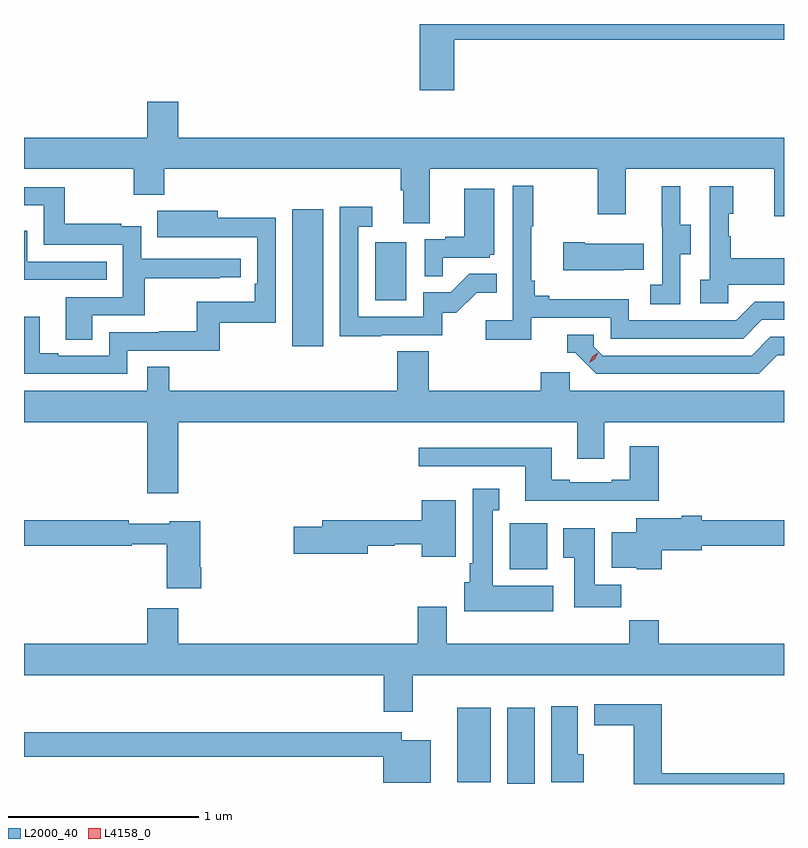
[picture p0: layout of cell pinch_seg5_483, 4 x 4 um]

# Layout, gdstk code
import gdstk
lib = gdstk.Library(unit=1e-6, precision=1e-09)
def R(c, l, rs):  # rectangles x0, y0, x1, y1
    for r in rs: c.add(gdstk.rectangle(r[:2], r[2:], *l))
def P(c, l, *ps):  # polygons
    for p in ps: c.add(gdstk.Polygon(p, *l))
L2000_40 = (2000, 40)
L4158_0 = (4158, 0)

pinch_seg5_483 = lib.new_cell('pinch_seg5_483')
R(pinch_seg5_483, L2000_40, [(898.172,848.196,898.315,848.596), (897.908,848.204,898.084,848.596), (898.184,849.326,898.381,849.568), (897.041,850.5,897.202,851.221), (897.476,850.74,897.64,851.047)])
P(pinch_seg5_483, L2000_40, [(897.893,852.112),(899.628,852.112),(899.628,852.195),(897.71,852.195),(897.71,851.847),(897.893,851.847)],
  [(897.763,851.432),(898.648,851.432),(898.648,851.193),(898.795,851.193),(898.795,851.432),(899.576,851.432),(899.576,851.184),(899.628,851.184),(899.628,851.596),(896.44,851.596),(896.44,851.785),(896.276,851.785),(896.276,851.596),(895.628,851.596),(895.628,851.432),(896.206,851.432),(896.206,851.297),(896.366,851.297),(896.366,851.432),(897.611,851.432),(897.611,851.32),(897.623,851.32),(897.623,851.146),(897.763,851.146)],
  [(898.298,850.65),(898.716,850.65),(898.716,850.539),(899.413,850.539),(899.512,850.638),(899.628,850.638),(899.628,850.734),(899.475,850.734),(899.376,850.635),(898.812,850.635),(898.812,850.747),(898.393,850.747),(898.393,850.766),(898.316,850.766),(898.316,850.843),(898.297,850.843),(898.297,851.131),(898.309,851.131),(898.309,851.344),(898.2,851.344),(898.2,850.636),(898.059,850.636),(898.059,850.534),(898.298,850.534)],
  [(899.082,850.984),(899.137,850.984),(899.137,851.139),(899.083,851.139),(899.083,851.341),(898.985,851.341),(898.985,851.127),(898.986,851.127),(898.986,850.823),(898.923,850.823),(898.923,850.72),(899.082,850.72)],
  [(899.334,850.823),(899.628,850.823),(899.628,850.963),(899.347,850.963),(899.347,851.078),(899.337,851.078),(899.337,851.196),(899.362,851.196),(899.362,851.341),(899.238,851.341),(899.238,850.85),(899.187,850.85),(899.187,850.725),(899.334,850.725)],
  [(895.987,850.662),(896.264,850.662),(896.264,850.858),(896.657,850.858),(896.657,850.863),(896.77,850.863),(896.77,850.959),(896.244,850.959),(896.244,851.131),(896.141,851.131),(896.141,851.143),(895.843,851.143),(895.843,851.337),(895.628,851.337),(895.628,851.24),(895.732,851.24),(895.732,851.034),(896.148,851.034),(896.148,850.758),(895.847,850.758),(895.847,850.534),(895.987,850.534)],
  [(897.833,850.965),(898.08,850.965),(898.08,850.98),(898.102,850.98),(898.102,851.329),(897.944,851.329),(897.944,851.074),(897.845,851.074),(897.845,851.061),(897.738,851.061),(897.738,850.867),(897.833,850.867)],
  [(897.509,850.557),(897.828,850.557),(897.828,850.674),(897.904,850.674),(898.011,850.781),(898.115,850.781),(898.115,850.88),(897.971,850.88),(897.873,850.782),(897.729,850.782),(897.729,850.653),(897.387,850.653),(897.387,851.127),(897.46,851.127),(897.46,851.233),(897.291,851.233),(897.291,850.552),(897.509,850.552)],
  [(896.172,850.476),(896.659,850.476),(896.659,850.623),(896.952,850.623),(896.952,851.174),(896.647,851.174),(896.647,851.212),(896.329,851.212),(896.329,851.072),(896.543,851.072),(896.543,851.073),(896.856,851.073),(896.856,850.828),(896.843,850.828),(896.843,850.732),(896.538,850.732),(896.538,850.577),(896.341,850.577),(896.341,850.572),(896.076,850.572),(896.076,850.449),(895.807,850.449),(895.807,850.462),(895.711,850.462),(895.711,850.655),(895.628,850.655),(895.628,850.353),(896.172,850.353)],
  [(896.063,850.944),(895.644,850.944),(895.644,851.107),(895.628,851.107),(895.628,850.848),(896.063,850.848)],
  [(898.781,850.901),(898.889,850.901),(898.889,851.038),(898.579,851.038),(898.579,851.046),(898.467,851.046),(898.467,850.898),(898.781,850.898)],
  [(899.593,850.452),(899.628,850.452),(899.628,850.548),(899.556,850.548),(899.457,850.449),(898.674,850.449),(898.626,850.497),(898.626,850.56),(898.487,850.56),(898.487,850.464),(898.53,850.464),(898.641,850.353),(899.494,850.353)],
  [(896.44,850.1),(898.541,850.1),(898.541,849.906),(898.681,849.906),(898.681,850.1),(899.628,850.1),(899.628,850.264),(898.5,850.264),(898.5,850.362),(898.349,850.362),(898.349,850.264),(897.758,850.264),(897.758,850.472),(897.593,850.472),(897.593,850.264),(896.393,850.264),(896.393,850.391),(896.277,850.391),(896.277,850.264),(895.628,850.264),(895.628,850.1),(896.276,850.1),(896.276,849.726),(896.44,849.726)],
  [(898.97,849.973),(898.817,849.973),(898.817,849.796),(898.721,849.796),(898.721,849.783),(898.501,849.783),(898.501,849.796),(898.405,849.796),(898.405,849.964),(897.705,849.964),(897.705,849.867),(898.265,849.867),(898.265,849.686),(898.97,849.686)],
  [(898.414,849.238),(898.096,849.238),(898.096,849.635),(898.129,849.635),(898.129,849.748),(897.989,849.748),(897.989,849.358),(897.974,849.358),(897.974,849.258),(897.944,849.258),(897.944,849.104),(898.414,849.104)],
  [(897.901,849.688),(897.722,849.688),(897.722,849.584),(897.197,849.584),(897.197,849.548),(897.048,849.548),(897.048,849.406),(897.436,849.406),(897.436,849.448),(897.579,849.448),(897.579,849.456),(897.722,849.456),(897.722,849.392),(897.901,849.392)],
  [(898.985,849.425),(899.194,849.425),(899.194,849.448),(899.628,849.448),(899.628,849.584),(899.194,849.584),(899.194,849.608),(899.09,849.608),(899.09,849.595),(898.85,849.595),(898.85,849.52),(898.721,849.52),(898.721,849.332),(898.854,849.332),(898.854,849.326),(898.985,849.326)],
  [(896.561,849.337),(896.556,849.337),(896.556,849.577),(896.394,849.577),(896.394,849.565),(896.18,849.565),(896.18,849.584),(895.628,849.584),(895.628,849.448),(896.194,849.448),(896.194,849.456),(896.378,849.456),(896.378,849.225),(896.561,849.225)],
  [(898.772,849.244),(898.633,849.244),(898.633,849.541),(898.466,849.541),(898.466,849.385),(898.523,849.385),(898.523,849.126),(898.772,849.126)],
  [(897.673,848.768),(899.628,848.768),(899.628,848.932),(898.97,848.932),(898.97,849.056),(898.813,849.056),(898.813,848.932),(897.853,848.932),(897.853,849.127),(897.701,849.127),(897.701,848.932),(896.44,848.932),(896.44,849.121),(896.276,849.121),(896.276,848.932),(895.628,848.932),(895.628,848.768),(897.521,848.768),(897.521,848.574),(897.673,848.574)],
  [(899.628,848.252),(898.985,848.252),(898.985,848.614),(898.629,848.614),(898.629,848.505),(898.838,848.505),(898.838,848.195),(899.628,848.195)],
  [(898.573,848.352),(898.543,848.352),(898.543,848.605),(898.403,848.605),(898.403,848.204),(898.573,848.204)],
  [(897.769,848.425),(897.616,848.425),(897.616,848.467),(895.628,848.467),(895.628,848.338),(897.518,848.338),(897.518,848.201),(897.769,848.201)])
P(pinch_seg5_483, L4158_0, [(898.603,850.411),(898.603,850.412),(898.619,850.444),(898.649,850.464),(898.649,850.464),(898.649,850.463),(898.633,850.431),(898.603,850.411)])

lib.write_gds('pinch_seg5_483.gds')
